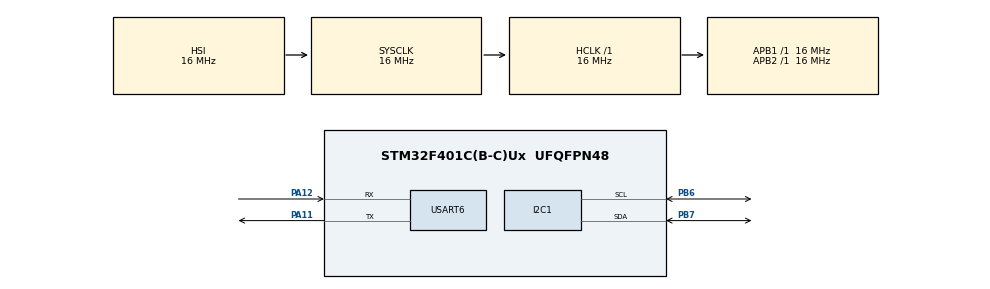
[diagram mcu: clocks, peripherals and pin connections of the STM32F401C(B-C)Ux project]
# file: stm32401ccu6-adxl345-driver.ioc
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Mcu.Family=STM32F4
Mcu.Name=STM32F401C(B-C)Ux
Mcu.Package=UFQFPN48
NVIC.PriorityGroup=NVIC_PRIORITYGROUP_4
PA11.Mode=Asynchronous
PA11.Signal=USART6_TX
PA12.Mode=Asynchronous
PA12.Signal=USART6_RX
PA13.Mode=Serial_Wire
PA13.Signal=SYS_JTMS-SWDIO
PA14.Mode=Serial_Wire
PA14.Signal=SYS_JTCK-SWCLK
PB6.Mode=I2C
PB6.Signal=I2C1_SCL
PB7.Mode=I2C
PB7.Signal=I2C1_SDA
PH0\ -\ OSC_IN.Mode=HSE-External-Oscillator
PH0\ -\ OSC_IN.Signal=RCC_OSC_IN
PH1\ -\ OSC_OUT.Mode=HSE-External-Oscillator
PH1\ -\ OSC_OUT.Signal=RCC_OSC_OUT
ProjectManager.HeapSize=0x200
ProjectManager.StackSize=0x400
ProjectManager.TargetToolchain=STM32CubeIDE
RCC.AHBFreq_Value=16000000
RCC.APB1Freq_Value=16000000
RCC.APB2Freq_Value=16000000
RCC.CortexFreq_Value=16000000
RCC.HSE_VALUE=25000000
RCC.HSI_VALUE=16000000
RCC.LSE_VALUE=32768
RCC.SYSCLKFreq_VALUE=16000000
RCC.VCOOutputFreq_Value=192000000
USART6.VirtualMode=VM_ASYNC
board=custom

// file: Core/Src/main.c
/* USER CODE BEGIN Header */
/**
  ******************************************************************************
  * @file           : main.c
  * @brief          : Main program body
  ******************************************************************************
  * @attention
  *
  * Copyright (c) 2025 STMicroelectronics.
  * All rights reserved.
  *
  * This software is licensed under terms that can be found in the LICENSE file
  * in the root directory of this software component.
  * If no LICENSE file comes with this software, it is provided AS-IS.
  *
  ******************************************************************************
  */
/* USER CODE END Header */
#include "main.h"

/* USER CODE BEGIN Includes */
#include <stdio.h>
#include <stdint.h>
#include <string.h>
#include "adxl345.h"

/* USER CODE END Includes */

I2C_HandleTypeDef hi2c1;

UART_HandleTypeDef huart6;

void SystemClock_Config(void);
static void MX_GPIO_Init(void);
static void MX_I2C1_Init(void);
static void MX_USART6_UART_Init(void);

/* USER CODE BEGIN 0 */

/* ADXL instance */
ADXL345 accelerometer;
ADXL345_instance acc_ptr = &accelerometer;

char acc_values[10];
char init_msg[32];

/* USER CODE END 0 */

int main(void)
{

  /* MCU Configuration--------------------------------------------------------*/

  /* Reset of all peripherals, Initializes the Flash interface and the Systick. */
  HAL_Init();

  /* Configure the system clock */
  SystemClock_Config();

  /* Initialize all configured peripherals */
  MX_GPIO_Init();
  MX_I2C1_Init();
  MX_USART6_UART_Init();
  /* USER CODE BEGIN 2 */

  uint8_t init_status =0;
  init_status = ADXL_initialize(acc_ptr, &hi2c1);

  if(init_status) {
	  /* initialize data buffers */
	  sprintf(init_msg, "ADXL init OK...\r\n");
  } else {
	  /* debug message */
	  sprintf(init_msg, "ADXL init failed...\r\n");
  }

  HAL_UART_Transmit(&huart6, (uint8_t*)init_msg, strlen(init_msg), HAL_MAX_DELAY);

  /* USER CODE END 2 */

  /* Infinite loop */
  while (1)
  {

    /* USER CODE BEGIN 3 */

	  /* read acceleration */
	  ADXL_read_acceleration(acc_ptr);

	  /* package data */
	  sprintf(acc_values,
			  "%.2f,\t%.2f,\t%.2f,\r\n",
			  acc_ptr->acceleration_buffer[0], // x
			  acc_ptr->acceleration_buffer[1], // y
			  acc_ptr->acceleration_buffer[2]  // z
	);

	 HAL_UART_Transmit(&huart6, (uint8_t*)acc_values, strlen(acc_values), HAL_MAX_DELAY);
	 HAL_Delay(5);

  }
  /* USER CODE END 3 */
}

void SystemClock_Config(void)
{
  RCC_OscInitTypeDef RCC_OscInitStruct = {0};
  RCC_ClkInitTypeDef RCC_ClkInitStruct = {0};

  /** Configure the main internal regulator output voltage
  */
  __HAL_RCC_PWR_CLK_ENABLE();
  __HAL_PWR_VOLTAGESCALING_CONFIG(PWR_REGULATOR_VOLTAGE_SCALE2);

  /** Initializes the RCC Oscillators according to the specified parameters
  * in the RCC_OscInitTypeDef structure.
  */
  RCC_OscInitStruct.OscillatorType = RCC_OSCILLATORTYPE_HSI;
  RCC_OscInitStruct.HSIState = RCC_HSI_ON;
  RCC_OscInitStruct.HSICalibrationValue = RCC_HSICALIBRATION_DEFAULT;
  RCC_OscInitStruct.PLL.PLLState = RCC_PLL_NONE;
  if (HAL_RCC_OscConfig(&RCC_OscInitStruct) != HAL_OK)
  {
    Error_Handler();
  }

  /** Initializes the CPU, AHB and APB buses clocks
  */
  RCC_ClkInitStruct.ClockType = RCC_CLOCKTYPE_HCLK|RCC_CLOCKTYPE_SYSCLK
                              |RCC_CLOCKTYPE_PCLK1|RCC_CLOCKTYPE_PCLK2;
  RCC_ClkInitStruct.SYSCLKSource = RCC_SYSCLKSOURCE_HSI;
  RCC_ClkInitStruct.AHBCLKDivider = RCC_SYSCLK_DIV1;
  RCC_ClkInitStruct.APB1CLKDivider = RCC_HCLK_DIV1;
  RCC_ClkInitStruct.APB2CLKDivider = RCC_HCLK_DIV1;

  if (HAL_RCC_ClockConfig(&RCC_ClkInitStruct, FLASH_LATENCY_0) != HAL_OK)
  {
    Error_Handler();
  }
}

static void MX_I2C1_Init(void)
{

  hi2c1.Instance = I2C1;
  hi2c1.Init.ClockSpeed = 100000;
  hi2c1.Init.DutyCycle = I2C_DUTYCYCLE_2;
  hi2c1.Init.OwnAddress1 = 0;
  hi2c1.Init.AddressingMode = I2C_ADDRESSINGMODE_7BIT;
  hi2c1.Init.DualAddressMode = I2C_DUALADDRESS_DISABLE;
  hi2c1.Init.OwnAddress2 = 0;
  hi2c1.Init.GeneralCallMode = I2C_GENERALCALL_DISABLE;
  hi2c1.Init.NoStretchMode = I2C_NOSTRETCH_DISABLE;
  if (HAL_I2C_Init(&hi2c1) != HAL_OK)
  {
    Error_Handler();
  }

}

static void MX_USART6_UART_Init(void)
{

  huart6.Instance = USART6;
  huart6.Init.BaudRate = 115200;
  huart6.Init.WordLength = UART_WORDLENGTH_8B;
  huart6.Init.StopBits = UART_STOPBITS_1;
  huart6.Init.Parity = UART_PARITY_NONE;
  huart6.Init.Mode = UART_MODE_TX_RX;
  huart6.Init.HwFlowCtl = UART_HWCONTROL_NONE;
  huart6.Init.OverSampling = UART_OVERSAMPLING_16;
  if (HAL_UART_Init(&huart6) != HAL_OK)
  {
    Error_Handler();
  }

}

static void MX_GPIO_Init(void)
{

  /* GPIO Ports Clock Enable */
  __HAL_RCC_GPIOH_CLK_ENABLE();
  __HAL_RCC_GPIOA_CLK_ENABLE();
  __HAL_RCC_GPIOB_CLK_ENABLE();

}

void Error_Handler(void)
{
  __disable_irq();
  while (1)
  {
  }
}
